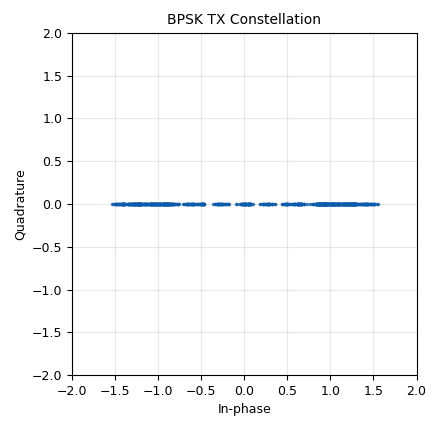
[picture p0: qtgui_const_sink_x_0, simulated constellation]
options:
  parameters:
    author: JaganMohan
    category: Custom
    description: BPSK hardware BER transmitter using USRP
    generate_options: qt_gui
    id: tx_bpsk_hardware_ber
    output_language: python
    title: BPSK BER Hardware Transmitter
  states: {}

blocks:
- name: Alpha
  id: variable
  parameters:
    value: '0.35'
  states: {}
- name: bpsk_const
  id: variable_constellation
  parameters:
    comment: 'BPSK: 2 points on real axis, 1 bit/symbol'
    const_points: '[-1+0j, 1+0j]'
    precision: '8'
    rot_sym: '2'
    sym_map: '[0, 1]'
    type: bpsk
  states: {}
- name: center_freq
  id: variable
  parameters:
    value: '2850000000'
  states: {}
- name: samp_rate
  id: variable
  parameters:
    value: '1000000'
  states: {}
- name: sps
  id: variable
  parameters:
    value: '4'
  states: {}
- name: tx_gain
  id: variable
  parameters:
    value: '33'
  states: {}
- name: analog_random_source_x_0
  id: analog_random_source_x
  parameters:
    max: '255'
    min: '0'
    num_samps: '10000'
    repeat: 'True'
    type: byte
  states: {}
- name: digital_constellation_modulator_0
  id: digital_constellation_modulator
  parameters:
    comment: Maps bytes through bpsk_const, applies RRC shaping at sps=4
    constellation: bpsk_const
    differential: 'True'
    excess_bw: Alpha
    samples_per_symbol: sps
  states: {}
- name: epy_block_0
  id: epy_block
  parameters:
    _source_code: |
      import numpy as np
      from gnuradio import gr

      class blk(gr.basic_block):
          """BER Frame Generator & Preamble Inserter for BPSK"""
          def __init__(self, packet_len=1000):
              gr.basic_block.__init__(
                  self,
                  name='BER Frame Generator',
                  in_sig=[np.uint8],
                  out_sig=[np.uint8]
              )
              self.packet_len = packet_len
              # BPSK preamble: 11 symbols, values are 0 or 1 (BPSK symbol indices)
              # Chosen as a Barker-like sequence for good autocorrelation
              self.preamble = np.array([1, 1, 1, 0, 0, 0, 1, 0, 0, 1, 0], dtype=np.uint8)
              np.random.seed(42)
              # Payload: 989 BPSK symbols (0 or 1), total packet = 11 + 989 = 1000
              self.payload_ref = np.random.randint(0, 2, size=989, dtype=np.uint8)
              
              self.packet = np.concatenate([self.preamble, self.payload_ref])
              
              # Pack 8 BPSK symbols (bits) into 1 byte
              # constellation_modulator will unpack them 1 bit at a time
              n_bytes = len(self.packet) // 8
              self.packed_packet = np.zeros(n_bytes, dtype=np.uint8)
              for i in range(n_bytes):
                  byte_val = 0
                  for b in range(8):
                      byte_val = (byte_val << 1) | (int(self.packet[8*i + b]) & 1)
                  self.packed_packet[i] = byte_val
                  
              self.ptr = 0

          def general_work(self, input_items, output_items):
              in0 = input_items[0]
              out = output_items[0]
              n_out = len(out)
              written = 0
              read = min(len(in0), n_out)
              
              while written < read:
                  rem = len(self.packed_packet) - self.ptr
                  to_write = min(rem, read - written)
                  out[written:written+to_write] = self.packed_packet[self.ptr:self.ptr+to_write]
                  self.ptr = (self.ptr + to_write) % len(self.packed_packet)
                  written += to_write
                  
              self.consume(0, read)
              return written
    comment: Packs BPSK bits into bytes for constellation_modulator
    packet_len: '1000'
  states: {}
- name: qtgui_const_sink_x_0
  id: qtgui_const_sink_x
  parameters:
    name: '"BPSK TX Constellation"'
    size: '1024'
    type: complex
  states: {}
- name: uhd_usrp_sink_0
  id: uhd_usrp_sink
  parameters:
    ant0: '"TX/RX"'
    center_freq0: center_freq
    gain0: tx_gain
    samp_rate: samp_rate
    sync: pc_clock
    type: fc32
  states: {}

connections:
- [analog_random_source_x_0, '0', epy_block_0, '0']
- [digital_constellation_modulator_0, '0', qtgui_const_sink_x_0, '0']
- [digital_constellation_modulator_0, '0', uhd_usrp_sink_0, '0']
- [epy_block_0, '0', digital_constellation_modulator_0, '0']

metadata:
  file_format: 1
  grc_version: 3.10.12.0
